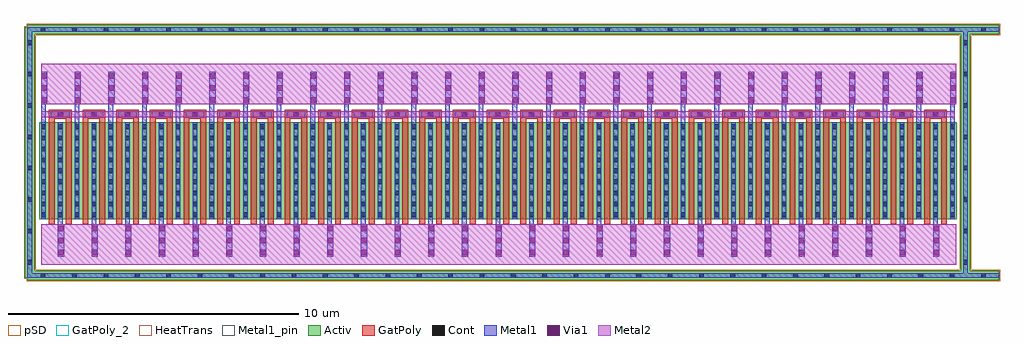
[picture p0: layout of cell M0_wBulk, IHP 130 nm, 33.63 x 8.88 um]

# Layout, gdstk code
from math import pi, radians
import gdstk
lib = gdstk.Library(unit=1e-6, precision=1e-09)
def R(c, l, rs):  # rectangles x0, y0, x1, y1
    for r in rs: c.add(gdstk.rectangle(r[:2], r[2:], *l))
def A(c, l, x, y, w, h, nx, ny, dx, dy):  # array of equal rectangles
    R(c, l, [(x+i*dx, y+j*dy, x+i*dx+w, y+j*dy+h) for i in range(nx) for j in range(ny)])
Activ = (1, 0)
GatPoly = (5, 0)
GatPoly_2 = (5, 2)
Cont = (6, 0)
Metal1 = (8, 0)
Metal1_pin = (8, 2)
Metal2 = (10, 0)
pSD = (14, 0)
Via1 = (19, 0)
HeatTrans = (51, 0)

nmos_5 = lib.new_cell('nmos$5')
A(nmos_5, Activ, 0, 0, 0.3, 0.3, 10, 1, 0.58, 0)
R(nmos_5, Activ, [(0,0,5.52,3.33)])
A(nmos_5, GatPoly, 0.34, -0.18, 0.2, 3.69, 9, 1, 0.58, 0)
R(nmos_5, GatPoly_2, [(0.34,-0.18,0.54,3.51)])
A(nmos_5, Cont, 0.07, 0.07, 0.16, 0.16, 10, 2, 0.58, 0.375)
A(nmos_5, Cont, 0.07, 0.825, 0.16, 0.16, 10, 3, 0.58, 0.38)
A(nmos_5, Cont, 0.07, 1.96, 0.16, 0.16, 10, 4, 0.58, 0.38)
A(nmos_5, Metal1, 0.07, 0, 0.16, 3.33, 10, 1, 0.58, 0)
R(nmos_5, Metal1_pin, [(0.07,0,0.23,3.33), (0.65,0,0.81,3.33)])
A(nmos_5, HeatTrans, 0.34, -0.18, 0.2, 3.69, 9, 1, 0.58, 0)
nmos_5.add(gdstk.Label('nmos', (0.44,1.665), layer=63, texttype=0))
nmos_5.add(gdstk.Label('nmos', (0.44,1.665), layer=51, texttype=0))
nmos_5.add(gdstk.Label('nmos', (1.02,1.665), layer=51, texttype=0))
nmos_5.add(gdstk.Label('nmos', (1.6,1.665), layer=51, texttype=0))
nmos_5.add(gdstk.Label('nmos', (2.18,1.665), layer=51, texttype=0))
nmos_5.add(gdstk.Label('nmos', (2.76,1.665), layer=51, texttype=0))
nmos_5.add(gdstk.Label('nmos', (3.34,1.665), layer=51, texttype=0))
nmos_5.add(gdstk.Label('nmos', (3.92,1.665), layer=51, texttype=0))
nmos_5.add(gdstk.Label('nmos', (4.5,1.665), layer=51, texttype=0))
nmos_5.add(gdstk.Label('nmos', (5.08,1.665), layer=51, texttype=0))

c_m0 = lib.new_cell('M0')
r = gdstk.Reference(nmos_5, (-0.44,-0.155)); r.repetition = gdstk.Repetition(6, 1, v1=(5.22,0), v2=(0,0)); c_m0.add(r)

via_stack_1 = lib.new_cell('via_stack$1')
R(via_stack_1, Metal1, [(-0.105,-0.555,0.105,0.555)])
R(via_stack_1, Metal2, [(-0.1,-0.555,0.1,0.555)])
A(via_stack_1, Via1, -0.095, -0.505, 0.19, 0.19, 1, 3, 0, 0.41)

metal1m0 = lib.new_cell('metal1M0')
R(metal1m0, Metal1, [(0,0,0.16,0.63)])
metal1m0.add(gdstk.Reference(via_stack_1, (0.105,1.185), rotation=pi, x_reflection=True))

metal1m0_bottom = lib.new_cell('metal1M0_bottom')
R(metal1m0_bottom, Metal1, [(-0.585,2.1,-0.425,2.28)])
metal1m0_bottom.add(gdstk.Reference(via_stack_1, (-0.48,1.545), rotation=pi, x_reflection=True))

via_stack_4 = lib.new_cell('via_stack$4')
R(via_stack_4, GatPoly, [(-0.15,-0.15,0.15,0.15)])
R(via_stack_4, Cont, [(-0.08,-0.08,0.08,0.08)])
R(via_stack_4, Metal1, [(-0.145,-0.105,0.145,0.105)])
R(via_stack_4, Metal2, [(-0.145,-0.1,0.145,0.1)])
R(via_stack_4, Via1, [(-0.095,-0.095,0.095,0.095)])

gatecntm0 = lib.new_cell('gateCntM0')
R(gatecntm0, GatPoly, [(0.27,0,0.51,0.3), (0.81,0,1.05,0.3)])
R(gatecntm0, Metal1, [(0.34,0.045,0.515,0.255), (0.805,0.045,0.98,0.255)])
R(gatecntm0, Metal2, [(0,0.045,0.515,0.255), (0.805,0.045,1.32,0.255)])
gatecntm0.add(gdstk.Reference(via_stack_4, (0.66,0.15), rotation=pi, x_reflection=True))

m0_wroutings = lib.new_cell('M0_wRoutings')
R(m0_wroutings, Metal2, [(-31.16,-2.05,0.37,-0.65), (-31.16,3.49,0.37,4.89)])
m0_wroutings.add(gdstk.Reference(c_m0, (-0.05,-0.315), rotation=pi, x_reflection=True))
r = gdstk.Reference(metal1m0, (-31.16,2.86)); r.repetition = gdstk.Repetition(28, 1, v1=(1.16,0), v2=(0,0)); m0_wroutings.add(r)
r = gdstk.Reference(metal1m0_bottom, (-29.995,-2.75)); r.repetition = gdstk.Repetition(27, 1, v1=(1.16,0), v2=(0,0)); m0_wroutings.add(r)
r = gdstk.Reference(gatecntm0, (-31.16,2.995)); r.repetition = gdstk.Repetition(27, 1, v1=(1.16,0), v2=(0,0)); m0_wroutings.add(r)

m1_cont1_nmos = lib.new_cell('M1_Cont1_NMOS')
R(m1_cont1_nmos, Activ, [(-0.53,-0.175,0.55,0.165)])
R(m1_cont1_nmos, Cont, [(-0.07,-0.085,0.09,0.075)])
R(m1_cont1_nmos, Metal1, [(-0.53,-0.085,0.55,0.075)])
R(m1_cont1_nmos, Metal1_pin, [(-0.53,-0.085,0.55,0.075)])
R(m1_cont1_nmos, pSD, [(-0.56,-0.205,0.58,0.195)])

m0_hor_bulk = lib.new_cell('M0_hor_bulk')
r = gdstk.Reference(m1_cont1_nmos, (0,0)); r.repetition = gdstk.Repetition(31, 1, v1=(1.08,0), v2=(0,0)); m0_hor_bulk.add(r)

m0_ver_bulk = lib.new_cell('M0_ver_bulk')
r = gdstk.Reference(m1_cont1_nmos, (0.015,7.565), rotation=3*pi/2); r.repetition = gdstk.Repetition(8, 1, v1=(0,-1.08), v2=(0,0)); m0_ver_bulk.add(r)

m0_wbulk = lib.new_cell('M0_wBulk')
m0_wbulk.add(gdstk.Reference(m0_wroutings, (15.225,0)))
m0_wbulk.add(gdstk.Reference(m0_hor_bulk, (-15.875,-2.41)))
m0_wbulk.add(gdstk.Reference(m0_ver_bulk, (-16.335,-1.95)))
m0_wbulk.add(gdstk.Reference(m0_ver_bulk, (15.905,-1.95)))
m0_wbulk.add(gdstk.Reference(m0_hor_bulk, (-15.875,6.07)))

lib.write_gds('M0_wBulk.gds')
